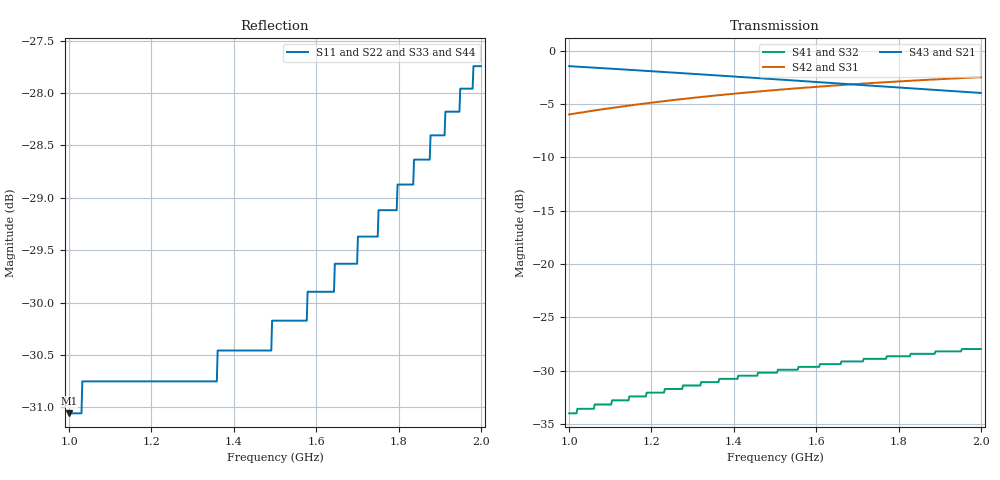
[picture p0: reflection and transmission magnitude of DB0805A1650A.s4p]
!	AVX THIN FILM OPERATION
!	0805 SIZE 3dB 90deg COUPLER P/N DB0805A1650ASTR
!	Created November 2010
!	Network	Analyzer	HP8720E	S.07.64:	"Feb23,2000"	Serial	No.US39172382
# MHZ S MA R 50
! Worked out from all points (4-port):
!   500 points, 1 GHz to 2 GHz, reference 50 ohm
!   strongest paths, dB at 1 GHz, 1.251 GHz, 1.501 GHz, 1.752 GHz, 2 GHz:
!     S43: -1.5, -2.1, -2.7, -3.3, -4.0
!     S21: -1.5, -2.1, -2.7, -3.3, -4.0
!     S42: -6.0, -4.6, -3.7, -3.0, -2.5
!     S31: -6.0, -4.6, -3.7, -3.0, -2.5
!     S41: -34.0, -31.7, -30.2, -28.9, -28.0
!     S32: -34.0, -31.7, -30.2, -28.9, -28.0
!   lowest |S11| = -31.1 dB at 1 GHz (marker M1), VSWR 1.06, Z = 49.8 - j2.78 ohm
!   |S11| at or under -10 dB: start of sweep to end of sweep
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1000  0.028 -93.2  0.845 -33.3  0.502 56.7  0.02 -35.6
      0.845 -33.3  0.028 -93.2  0.02 -35.6  0.502 56.7
      0.502 56.7  0.02 -35.6  0.028 -93.2  0.845 -33.3
      0.02 -35.6  0.502 56.7  0.845 -33.3  0.028 -93.2
1108.216  0.029 -94.0  0.821 -36.2  0.54 53.8  0.023 -44.0
          0.821 -36.2  0.029 -94.0  0.023 -44.0  0.54 53.8
          0.54 53.8  0.023 -44.0  0.029 -94.0  0.821 -36.2
          0.023 -44.0  0.54 53.8  0.821 -36.2  0.029 -94.0
1140.281  0.029 -94.0  0.814 -37.1  0.551 53.0  0.023 -46.3
          0.814 -37.1  0.029 -94.0  0.023 -46.3  0.551 53.0
          0.551 53.0  0.023 -46.3  0.029 -94.0  0.814 -37.1
          0.023 -46.3  0.551 53.0  0.814 -37.1  0.029 -94.0
1150.301  0.029 -93.9  0.811 -37.3  0.554 52.7  0.024 -47.1
          0.811 -37.3  0.029 -93.9  0.024 -47.1  0.554 52.7
          0.554 52.7  0.024 -47.1  0.029 -93.9  0.811 -37.3
          0.024 -47.1  0.554 52.7  0.811 -37.3  0.029 -93.9
1414.83  0.03 -89.9  0.752 -43.7  0.632 46.3  0.03 -64.3
         0.752 -43.7  0.03 -89.9  0.03 -64.3  0.632 46.3
         0.632 46.3  0.03 -64.3  0.03 -89.9  0.752 -43.7
         0.03 -64.3  0.632 46.3  0.752 -43.7  0.03 -89.9
1639.279  0.032 -83.3  0.704 -48.5  0.685 41.6  0.034 -76.7
          0.704 -48.5  0.032 -83.3  0.034 -76.7  0.685 41.6
          0.685 41.6  0.034 -76.7  0.032 -83.3  0.704 -48.5
          0.034 -76.7  0.685 41.6  0.704 -48.5  0.032 -83.3
2000  0.041 -73.7  0.633 -55.2  0.75 35.0  0.04 -93.2
      0.633 -55.2  0.041 -73.7  0.04 -93.2  0.75 35.0
      0.75 35.0  0.04 -93.2  0.041 -73.7  0.633 -55.2
      0.04 -93.2  0.75 35.0  0.633 -55.2  0.041 -73.7
